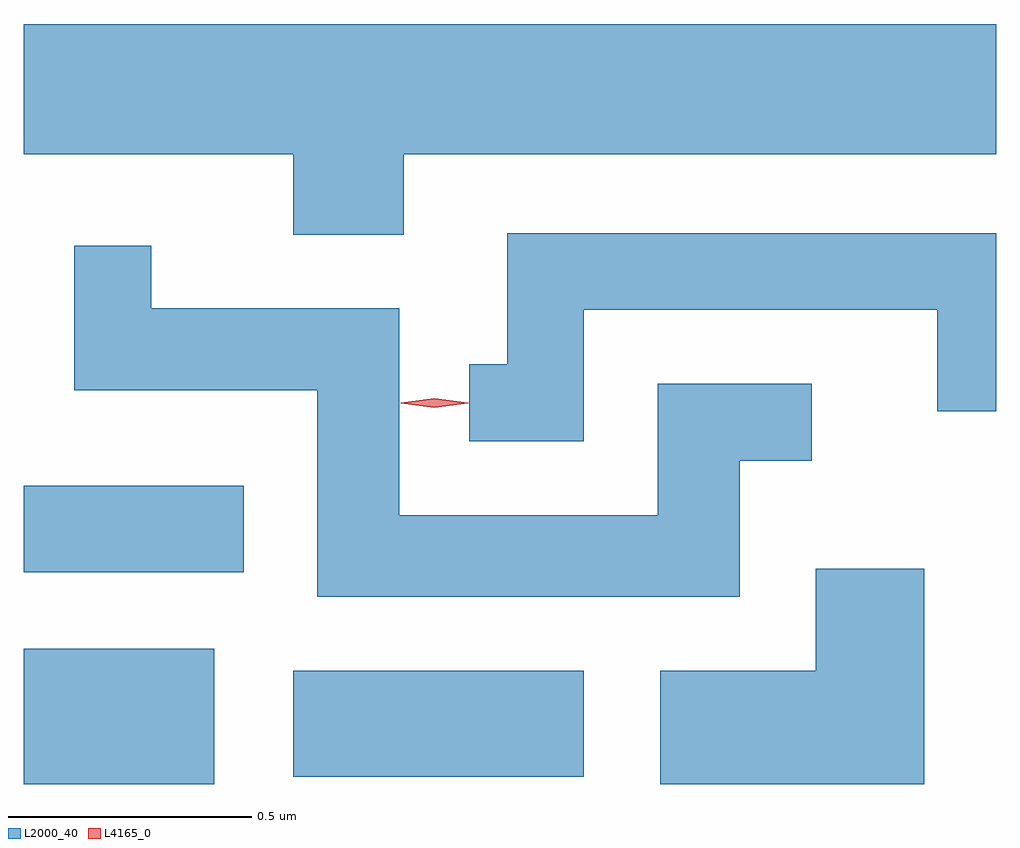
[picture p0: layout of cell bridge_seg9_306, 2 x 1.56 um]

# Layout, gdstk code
import gdstk
lib = gdstk.Library(unit=1e-6, precision=1e-09)
def R(c, l, rs):  # rectangles x0, y0, x1, y1
    for r in rs: c.add(gdstk.rectangle(r[:2], r[2:], *l))
def P(c, l, *ps):  # polygons
    for p in ps: c.add(gdstk.Polygon(p, *l))
L2000_40 = (2000, 40)
L4165_0 = (4165, 0)

bridge_seg9_306 = lib.new_cell('bridge_seg9_306')
R(bridge_seg9_306, L2000_40, [(1015.747,2046.021,1016.139,2046.299), (1016.301,2046.036,1016.899,2046.254), (1015.747,2046.456,1016.199,2046.634)])
P(bridge_seg9_306, L2000_40, [(1016.529,2047.316),(1017.747,2047.316),(1017.747,2047.584),(1015.747,2047.584),(1015.747,2047.316),(1016.301,2047.316),(1016.301,2047.151),(1016.529,2047.151)],
  [(1016.899,2046.996),(1017.626,2046.996),(1017.626,2046.788),(1017.747,2046.788),(1017.747,2047.154),(1016.741,2047.154),(1016.741,2046.884),(1016.663,2046.884),(1016.663,2046.726),(1016.899,2046.726)],
  [(1017.219,2046.686),(1017.368,2046.686),(1017.368,2046.844),(1017.051,2046.844),(1017.051,2046.574),(1016.519,2046.574),(1016.519,2046.999),(1016.009,2046.999),(1016.009,2047.128),(1015.851,2047.128),(1015.851,2046.831),(1016.351,2046.831),(1016.351,2046.406),(1017.219,2046.406)],
  [(1017.599,2046.464),(1017.376,2046.464),(1017.376,2046.254),(1017.056,2046.254),(1017.056,2046.021),(1017.599,2046.021)])
P(bridge_seg9_306, L4165_0, [(1016.591,2046.795),(1016.522,2046.804),(1016.522,2046.804),(1016.522,2046.805),(1016.591,2046.814),(1016.661,2046.805),(1016.661,2046.805),(1016.661,2046.804)])

lib.write_gds('bridge_seg9_306.gds')
